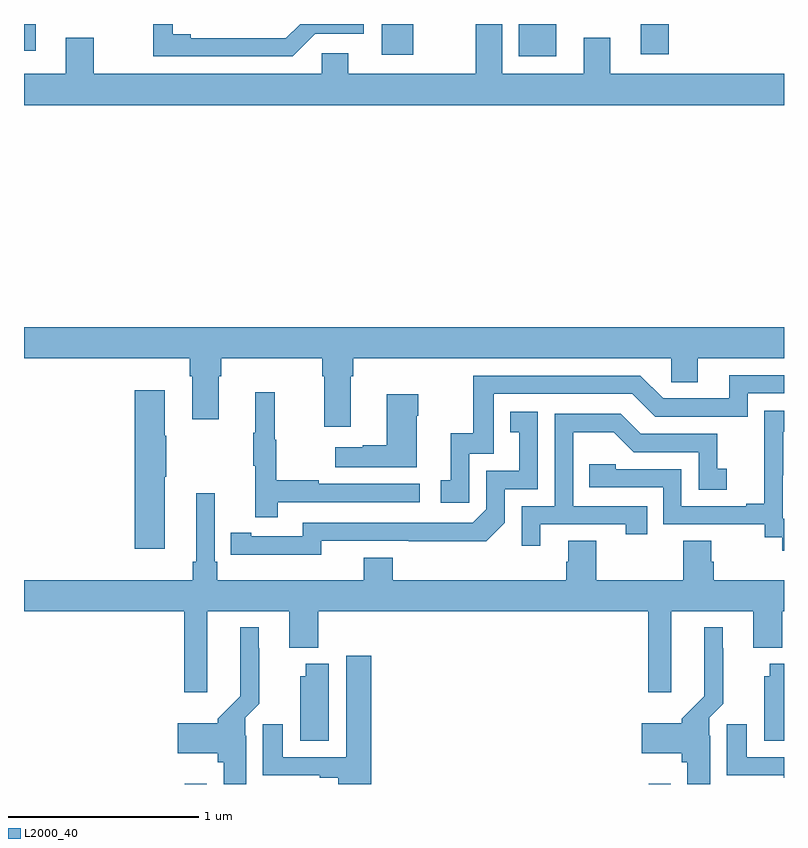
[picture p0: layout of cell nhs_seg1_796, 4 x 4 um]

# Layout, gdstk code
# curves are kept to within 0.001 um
import gdstk
lib = gdstk.Library(unit=1e-6, precision=1e-09)
def R(c, l, rs):  # rectangles x0, y0, x1, y1
    for r in rs: c.add(gdstk.rectangle(r[:2], r[2:], *l))
def P(c, l, *ps):  # polygons
    for p in ps: c.add(gdstk.Polygon(p, *l))
L2000_40 = (2000, 40)

nhs_seg1_796 = lib.new_cell('nhs_seg1_796')
R(nhs_seg1_796, L2000_40, [(155.845,508.199,155.961,508.201), (158.287,508.199,158.403,508.201), (157.605,512.03,157.801,512.199), (156.884,512.037,157.048,512.199), (158.246,512.04,158.393,512.199), (155,512.058,155.062,512.199)])
P(nhs_seg1_796, L2000_40, [(156.534,512.148),(156.789,512.148),(156.789,512.199),(156.453,512.199),(156.378,512.124),(155.878,512.124),(155.878,512.144),(155.782,512.144),(155.782,512.199),(155.68,512.199),(155.68,512.028),(156.414,512.028)],
  [(159,511.936),(158.086,511.936),(158.086,512.126),(157.946,512.126),(157.946,511.936),(157.516,511.936),(157.516,512.199),(157.378,512.199),(157.378,511.936),(156.706,511.936),(156.706,512.046),(156.567,512.046),(156.567,511.936),(155.367,511.936),(155.367,512.126),(155.219,512.126),(155.219,511.936),(155,511.936),(155,511.772),(159,511.772)],
  [(155,510.44),(155.873,510.44),(155.873,510.344),(155.885,510.344),(155.885,510.12),(156.025,510.12),(156.025,510.344),(156.038,510.344),(156.038,510.44),(156.569,510.44),(156.569,510.344),(156.581,510.344),(156.581,510.078),(156.721,510.078),(156.721,510.344),(156.734,510.344),(156.734,510.44),(158.406,510.44),(158.406,510.313),(158.545,510.313),(158.545,510.44),(159,510.44),(159,510.604),(155,510.604)],
  [(157.344,509.937),(157.473,509.937),(157.473,510.252),(158.202,510.252),(158.322,510.132),(158.808,510.132),(158.808,510.255),(159,510.255),(159,510.351),(158.711,510.351),(158.711,510.228),(158.364,510.228),(158.244,510.348),(157.365,510.348),(157.365,510.046),(157.247,510.046),(157.247,509.799),(157.194,509.799),(157.194,509.679),(157.344,509.679)],
  [(155.74,509.815),(155.748,509.815),(155.748,510.032),(155.74,510.032),(155.74,510.271),(155.582,510.271),(155.582,509.436),(155.74,509.436)],
  [(156.335,509.682),(157.084,509.682),(157.084,509.778),(156.551,509.778),(156.551,509.798),(156.328,509.798),(156.328,510.012),(156.32,510.012),(156.32,510.262),(156.218,510.262),(156.218,510.049),(156.207,510.049),(156.207,509.875),(156.218,509.875),(156.218,509.604),(156.335,509.604)],
  [(157.066,510.137),(157.074,510.137),(157.074,510.25),(156.908,510.25),(156.908,509.981),(156.782,509.981),(156.782,509.971),(156.639,509.971),(156.639,509.867),(157.066,509.867)],
  [(159,509.595),(158.994,509.595),(158.994,509.825),(158.996,509.825),(158.996,510.053),(159,510.053),(159,510.163),(158.896,510.163),(158.896,509.957),(158.897,509.957),(158.897,509.674),(158.801,509.674),(158.801,509.661),(158.46,509.661),(158.46,509.856),(158.115,509.856),(158.115,509.883),(157.975,509.883),(157.975,509.76),(158.364,509.76),(158.364,509.565),(158.898,509.565),(158.898,509.497),(158.991,509.497),(158.991,509.427),(159,509.427)],
  [(156.564,509.478),(157.432,509.477),(157.53,509.574),(157.53,509.751),(157.704,509.751),(157.704,510.157),(157.558,510.157),(157.558,510.051),(157.607,510.051),(157.607,509.847),(157.434,509.847),(157.434,509.646),(157.362,509.574),(156.468,509.574),(156.468,509.502),(156.196,509.502),(156.196,509.522),(156.088,509.522),(156.088,509.406),(156.564,509.405)],
  [(157.717,509.565),(158.168,509.565),(158.168,509.514),(158.279,509.514),(158.279,509.661),(157.89,509.661),(157.89,510.05),(158.104,510.05),(158.208,509.946),(158.55,509.946),(158.55,509.748),(158.698,509.748),(158.698,509.857),(158.649,509.857),(158.649,510.042),(158.245,510.042),(158.14,510.147),(157.794,510.147),(157.794,509.661),(157.62,509.661),(157.62,509.454),(157.717,509.454)],
  [(155.965,509.108),(156.395,509.108),(156.395,508.916),(156.548,508.916),(156.548,509.108),(158.285,509.108),(158.285,508.683),(158.407,508.683),(158.407,509.108),(158.837,509.108),(158.837,508.916),(158.99,508.916),(158.99,509.108),(159,509.108),(159,509.272),(158.63,509.272),(158.63,509.37),(158.617,509.37),(158.617,509.48),(158.47,509.48),(158.47,509.272),(158.013,509.272),(158.013,509.48),(157.865,509.48),(157.865,509.37),(157.853,509.37),(157.853,509.272),(156.941,509.272),(156.941,509.389),(156.788,509.389),(156.788,509.272),(156.017,509.272),(156.017,509.368),(156.003,509.368),(156.003,509.728),(155.906,509.728),(155.906,509.368),(155.887,509.368),(155.887,509.272),(155,509.272),(155,509.108),(155.843,509.108),(155.843,508.683),(155.965,508.683)],
  [(156.169,508.454),(156.165,508.454),(156.165,508.548),(156.239,508.622),(156.239,508.913),(156.235,508.913),(156.235,509.023),(156.137,509.023),(156.138,508.66),(156.02,508.542),(156.02,508.519),(155.808,508.519),(155.808,508.361),(156.02,508.361),(156.02,508.314),(156.05,508.314),(156.05,508.199),(156.169,508.199)],
  [(158.611,508.454),(158.607,508.454),(158.607,508.548),(158.681,508.622),(158.681,508.913),(158.677,508.913),(158.677,509.023),(158.579,509.023),(158.58,508.66),(158.462,508.542),(158.462,508.519),(158.25,508.519),(158.25,508.361),(158.462,508.361),(158.462,508.314),(158.492,508.314),(158.492,508.199),(158.611,508.199)],
  [(156.827,508.873),(156.695,508.873),(156.695,508.341),(156.361,508.341),(156.361,508.513),(156.257,508.513),(156.257,508.245),(156.557,508.245),(156.557,508.233),(156.653,508.233),(156.653,508.199),(156.827,508.199)],
  [(159,508.831),(158.924,508.831),(158.924,508.767),(158.897,508.767),(158.897,508.426),(159,508.426)],
  [(156.604,508.831),(156.482,508.831),(156.482,508.767),(156.455,508.767),(156.455,508.426),(156.604,508.426)],
  [(159,508.341),(158.803,508.341),(158.803,508.513),(158.699,508.513),(158.699,508.245),(158.999,508.245),(158.999,508.233),(159,508.233)])

lib.write_gds('nhs_seg1_796.gds')
